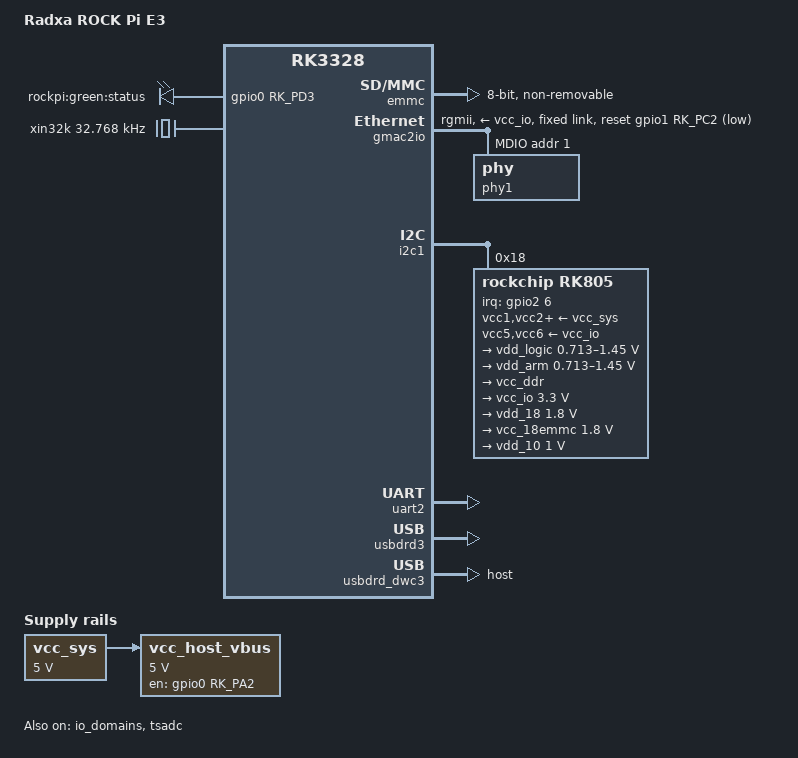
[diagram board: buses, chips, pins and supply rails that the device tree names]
// SPDX-License-Identifier: (GPL-2.0+ or MIT)
/*
 * Copyright (c) 2016 Fuzhou Rockchip Electronics Co., Ltd
 * Copyright (c) 2020 Jayantajit Gogoi <jayanta.gogoi525@gmail.com>
 */

/dts-v1/;
#include "rk3328.dtsi"

/ {
	model = "Radxa ROCK Pi E3";
	compatible = "radxa,rock-pi-e3", "rockchip,rk3328";

	chosen {
		stdout-path = "serial2:1500000n8";
	};

	leds {
		compatible = "gpio-leds";

		pinctrl-names = "default";
		pinctrl-0 = <&led_pins>;

		status {
			label = "rockpi:green:status";
			gpios = <&gpio0 RK_PD3 GPIO_ACTIVE_HIGH>;
			linux,default-trigger = "heartbeat";
			default-state = "on";
		};
	};

	vcc_host_vbus: host-vbus-regulator {
		compatible = "regulator-fixed";
		enable-active-high;
		gpio = <&gpio0 RK_PA2 GPIO_ACTIVE_HIGH>;
		pinctrl-names = "default";
		pinctrl-0 = <&host_vbus_drv>;
		regulator-always-on;
		regulator-boot-on;
		regulator-name = "vcc_host_vbus";
		regulator-min-microvolt = <5000000>;
		regulator-max-microvolt = <5000000>;
		vin-supply = <&vcc_sys>;
	};

	vcc_sys: vcc-sys {
		compatible = "regulator-fixed";
		regulator-name = "vcc_sys";
		regulator-always-on;
		regulator-boot-on;
		regulator-min-microvolt = <5000000>;
		regulator-max-microvolt = <5000000>;
	};

	xin32k: xin32k {
		compatible = "fixed-clock";
		clock-frequency = <32768>;
		clock-output-names = "xin32k";
		#clock-cells = <0>;
	};

	rtl8367rb {
		compatible = "realtek,rtl8367b";
		cpu_port = <7>;
		realtek,extif2 = <1 0 1 1 1 1 1 1 2>; /* configuration for EXT2 */
		mii-bus = <&mdio0>;
		phy_id = <29>; /* switch address at mii-bus */
	};
};

&cpu0 {
	cpu-supply = <&vdd_arm>;
};

&cpu1 {
	cpu-supply = <&vdd_arm>;
};

&cpu2 {
	cpu-supply = <&vdd_arm>;
};

&cpu3 {
	cpu-supply = <&vdd_arm>;
};

&emmc {
	bus-width = <8>;
	cap-mmc-highspeed;
	disable-wp;
	mmc-hs200-1_8v;
	non-removable;
	num-slots = <1>;
	pinctrl-names = "default";
	pinctrl-0 = <&emmc_clk &emmc_cmd &emmc_bus8>;
	supports-emmc;
	status = "okay";
};

&gmac2io {
	assigned-clocks = <&cru SCLK_MAC2IO>, <&cru SCLK_MAC2IO_EXT>;
	clock_in_out = "output";
	phy-supply = <&vcc_io>;
	phy-mode = "rgmii";
	pinctrl-names = "default";
	pinctrl-0 = <&rgmiim1_pins>;
	snps,reset-gpio = <&gpio1 RK_PC2 GPIO_ACTIVE_LOW>;
	snps,reset-active-low;
	snps,reset-delays-us = <0 2000000 3000000>;
	tx_delay = <0x12>;//need to do a loopback test
	rx_delay = <0x00>;//need to do a loopback test
	status = "okay";

	fixed-link {
		speed = <1000>;
		full-duplex;
	};

	mdio0: mdio {
		compatible = "snps,dwmac-mdio";
		#address-cells = <1>;
		#size-cells = <0>;

		phy1: phy@1 {
			reg = <1>;
			phy-mode = "rgmii";
		};
	};
};

&i2c1 {
	status = "okay";

	rk805: rk805@18 {
		compatible = "rockchip,rk805";
		reg = <0x18>;
		interrupt-parent = <&gpio2>;
		interrupts = <6 IRQ_TYPE_LEVEL_LOW>;
		#clock-cells = <1>;
		clock-output-names = "xin32k", "rk805-clkout2";
		gpio-controller;
		#gpio-cells = <2>;
		pinctrl-names = "default";
		pinctrl-0 = <&pmic_int_l>;
		rockchip,system-power-controller;
		wakeup-source;

		vcc1-supply = <&vcc_sys>;
		vcc2-supply = <&vcc_sys>;
		vcc3-supply = <&vcc_sys>;
		vcc4-supply = <&vcc_sys>;
		vcc5-supply = <&vcc_io>;
		vcc6-supply = <&vcc_io>;

		regulators {
			vdd_logic: DCDC_REG1 {
				regulator-name = "vdd_logic";
				regulator-min-microvolt = <712500>;
				regulator-max-microvolt = <1450000>;
				regulator-ramp-delay = <12500>;
				regulator-boot-on;
				regulator-always-on;
				regulator-state-mem {
					regulator-on-in-suspend;
					regulator-suspend-microvolt = <1000000>;
				};
			};

			vdd_arm: DCDC_REG2 {
				regulator-name = "vdd_arm";
				regulator-min-microvolt = <712500>;
				regulator-max-microvolt = <1450000>;
				regulator-ramp-delay = <12500>;
				regulator-boot-on;
				regulator-always-on;
				regulator-state-mem {
					regulator-on-in-suspend;
					regulator-suspend-microvolt = <950000>;
				};
			};

			vcc_ddr: DCDC_REG3 {
				regulator-name = "vcc_ddr";
				regulator-boot-on;
				regulator-always-on;
				regulator-state-mem {
					regulator-on-in-suspend;
				};
			};

			vcc_io: DCDC_REG4 {
				regulator-name = "vcc_io";
				regulator-min-microvolt = <3300000>;
				regulator-max-microvolt = <3300000>;
				regulator-boot-on;
				regulator-always-on;
				regulator-state-mem {
					regulator-on-in-suspend;
					regulator-suspend-microvolt = <3300000>;
				};
			};

			vdd_18: LDO_REG1 {
				regulator-name = "vdd_18";
				regulator-min-microvolt = <1800000>;
				regulator-max-microvolt = <1800000>;
				regulator-boot-on;
				regulator-always-on;
				regulator-state-mem {
					regulator-on-in-suspend;
					regulator-suspend-microvolt = <1800000>;
				};
			};

			vcc_18emmc: LDO_REG2 {
				regulator-name = "vcc_18emmc";
				regulator-min-microvolt = <1800000>;
				regulator-max-microvolt = <1800000>;
				regulator-boot-on;
				regulator-always-on;
				regulator-state-mem {
					regulator-on-in-suspend;
					regulator-suspend-microvolt = <1800000>;
				};
			};

			vdd_10: LDO_REG3 {
				regulator-name = "vdd_10";
				regulator-min-microvolt = <1000000>;
				regulator-max-microvolt = <1000000>;
				regulator-boot-on;
				regulator-always-on;
				regulator-state-mem {
					regulator-on-in-suspend;
					regulator-suspend-microvolt = <1000000>;
				};
			};
		};
	};
};

&io_domains {
	status = "okay";

	vccio1-supply = <&vcc_io>;
	vccio2-supply = <&vcc_18emmc>;
	vccio3-supply = <&vcc_io>;
	vccio4-supply = <&vcc_io>;
	vccio5-supply = <&vcc_io>;
	vccio6-supply = <&vcc_io>;
	pmuio-supply = <&vcc_io>;
};

&pinctrl {
	leds {
		led_pins: led-pins {
			rockchip,pins = <0 RK_PD3 RK_FUNC_GPIO &pcfg_pull_none>;
		};
	};

	pmic {
		pmic_int_l: pmic-int-l {
			rockchip,pins = <2 RK_PA6 RK_FUNC_GPIO &pcfg_pull_up>;
		};
	};

	usb {
		host_vbus_drv: host-vbus-drv {
			rockchip,pins = <0 RK_PA2 RK_FUNC_GPIO &pcfg_pull_none>;
		};
	};
};

&tsadc {
	rockchip,hw-tshut-mode = <1>;
	rockchip,hw-tshut-polarity = <1>;
	status = "okay";
};

&uart2 {
	status = "okay";
};

&usbdrd3 {
	status = "okay";
};

&usbdrd_dwc3 {
	dr_mode = "host";
	status = "okay";
};
